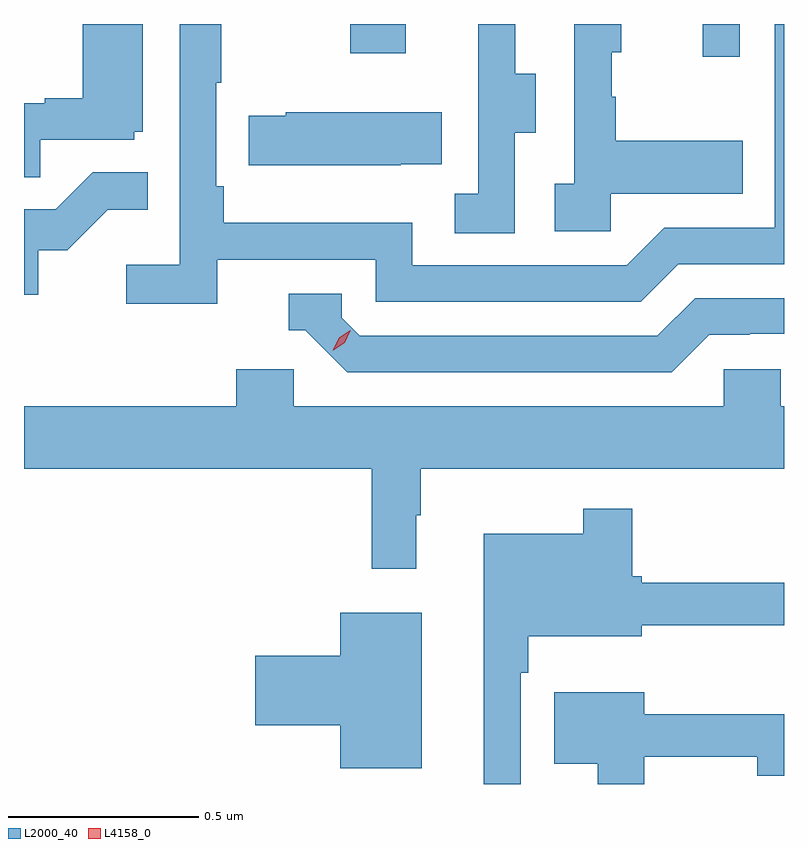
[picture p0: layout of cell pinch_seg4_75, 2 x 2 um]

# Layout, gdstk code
import gdstk
lib = gdstk.Library(unit=1e-6, precision=1e-09)
def R(c, l, rs):  # rectangles x0, y0, x1, y1
    for r in rs: c.add(gdstk.rectangle(r[:2], r[2:], *l))
def P(c, l, *ps):  # polygons
    for p in ps: c.add(gdstk.Polygon(p, *l))
L2000_40 = (2000, 40)
L4158_0 = (4158, 0)

pinch_seg4_75 = lib.new_cell('pinch_seg4_75')
R(pinch_seg4_75, L2000_40, [(1036.994,824.544,1037.091,824.63), (1036.066,824.553,1036.213,824.63)])
P(pinch_seg4_75, L2000_40, [(1035.716,824.01),(1036.134,824.01),(1036.134,823.899),(1036.831,823.899),(1036.93,823.998),(1037.208,823.998),(1037.208,824.63),(1037.184,824.63),(1037.184,824.094),(1036.893,824.094),(1036.794,823.995),(1036.23,823.995),(1036.23,824.107),(1035.734,824.107),(1035.734,824.203),(1035.714,824.203),(1035.714,824.476),(1035.727,824.476),(1035.727,824.63),(1035.618,824.63),(1035.618,823.996),(1035.477,823.996),(1035.477,823.894),(1035.716,823.894)],
  [(1035.251,824.325),(1035.498,824.325),(1035.498,824.346),(1035.52,824.346),(1035.52,824.63),(1035.362,824.63),(1035.362,824.434),(1035.263,824.434),(1035.263,824.421),(1035.208,824.421),(1035.208,824.227),(1035.251,824.227)],
  [(1036.5,824.344),(1036.555,824.344),(1036.555,824.499),(1036.501,824.499),(1036.501,824.63),(1036.403,824.63),(1036.403,824.487),(1036.404,824.487),(1036.404,824.183),(1036.341,824.183),(1036.341,824.08),(1036.5,824.08)],
  [(1036.752,824.183),(1037.099,824.183),(1037.099,824.323),(1036.765,824.323),(1036.765,824.438),(1036.755,824.438),(1036.755,824.556),(1036.78,824.556),(1036.78,824.63),(1036.656,824.63),(1036.656,824.21),(1036.605,824.21),(1036.605,824.085),(1036.752,824.085)],
  [(1036.199,824.261),(1036.307,824.261),(1036.307,824.398),(1035.897,824.398),(1035.897,824.388),(1035.799,824.388),(1035.799,824.258),(1036.199,824.258)],
  [(1035.246,824.034),(1035.322,824.034),(1035.429,824.141),(1035.533,824.141),(1035.533,824.24),(1035.389,824.24),(1035.291,824.142),(1035.208,824.142),(1035.208,823.917),(1035.246,823.917)],
  [(1037.011,823.812),(1037.118,823.812),(1037.118,823.815),(1037.208,823.815),(1037.208,823.908),(1036.974,823.908),(1036.875,823.809),(1036.092,823.809),(1036.044,823.857),(1036.044,823.92),(1035.905,823.92),(1035.905,823.824),(1035.948,823.824),(1036.059,823.713),(1036.912,823.713)],
  [(1036.24,823.337),(1036.252,823.337),(1036.252,823.46),(1037.208,823.46),(1037.208,823.624),(1037.199,823.624),(1037.199,823.722),(1037.049,823.722),(1037.049,823.624),(1035.918,823.624),(1035.918,823.722),(1035.767,823.722),(1035.767,823.624),(1035.208,823.624),(1035.208,823.46),(1036.123,823.46),(1036.123,823.197),(1036.24,823.197)],
  [(1036.515,822.923),(1036.535,822.923),(1036.535,823.019),(1036.834,823.019),(1036.834,823.048),(1037.208,823.048),(1037.208,823.159),(1036.834,823.159),(1036.834,823.177),(1036.808,823.177),(1036.808,823.354),(1036.68,823.354),(1036.68,823.288),(1036.418,823.288),(1036.418,822.63),(1036.515,822.63)],
  [(1036.255,823.081),(1036.04,823.081),(1036.04,822.968),(1035.816,822.968),(1035.816,822.785),(1036.04,822.785),(1036.04,822.671),(1036.255,822.671)],
  [(1036.84,822.702),(1037.138,822.702),(1037.138,822.652),(1037.208,822.652),(1037.208,822.813),(1036.84,822.813),(1036.84,822.871),(1036.604,822.871),(1036.604,822.683),(1036.718,822.683),(1036.718,822.63),(1036.84,822.63)])
P(pinch_seg4_75, L4158_0, [(1036.021,823.771),(1036.021,823.771),(1036.037,823.804),(1036.067,823.824),(1036.067,823.824),(1036.067,823.823),(1036.052,823.791),(1036.022,823.771)])

lib.write_gds('pinch_seg4_75.gds')
